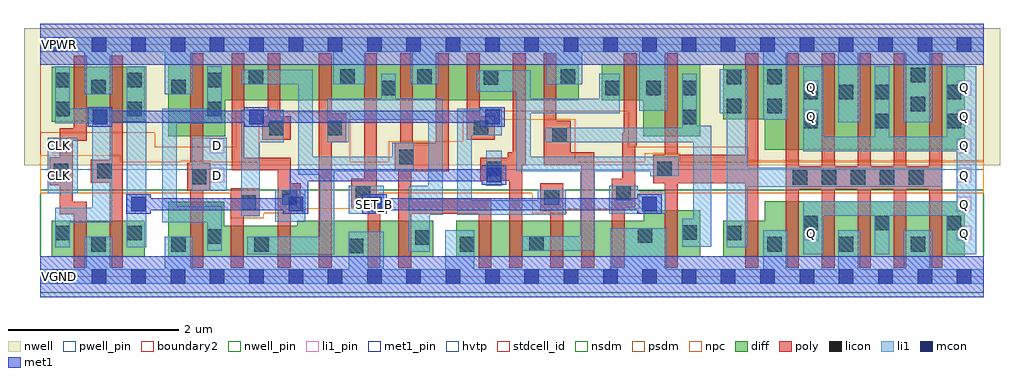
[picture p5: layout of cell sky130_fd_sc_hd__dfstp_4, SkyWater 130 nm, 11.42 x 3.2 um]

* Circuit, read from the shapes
.subckt sky130_fd_sc_hd__dfstp_4 CLK D Q SET_B VGND VNB VPB VPWR
XM1 VGND CLK n1 VNB sky130_fd_pr__nfet_01v8 w=0.42 l=0.15
XM2 n2 n1 VGND VNB sky130_fd_pr__nfet_01v8 w=0.42 l=0.15
XM3 n3 D VGND VNB sky130_fd_pr__nfet_01v8 w=0.64 l=0.15
XM4 n4 n1 n3 VNB sky130_fd_pr__nfet_01v8 w=0.36 l=0.15
XM5 n5 n2 n4 VNB sky130_fd_pr__nfet_01v8 w=0.36 l=0.15
XM6 VGND n6 n5 VNB sky130_fd_pr__nfet_01v8 w=0.42 l=0.15
XM7 n7 SET_B VGND VNB sky130_fd_pr__nfet_01v8 w=0.42 l=0.15
XM8 n6 n4 n7 VNB sky130_fd_pr__nfet_01v8 w=0.42 l=0.15
XM9 n8 n4 VGND VNB sky130_fd_pr__nfet_01v8 w=0.42 l=0.15
XM10 n9 n2 n8 VNB sky130_fd_pr__nfet_01v8 w=0.42 l=0.15
XM11 n10 n1 n9 VNB sky130_fd_pr__nfet_01v8 w=0.42 l=0.15
XM12 n11 n12 n10 VNB sky130_fd_pr__nfet_01v8 w=0.42 l=0.15
XM13 VGND SET_B n11 VNB sky130_fd_pr__nfet_01v8 w=0.42 l=0.15
XM14 n12 n9 VGND VNB sky130_fd_pr__nfet_01v8 w=0.54 l=0.15
XM15 VGND n9 n13 VNB sky130_fd_pr__nfet_01v8 w=0.42 l=0.15
XM16 Q n13 VGND VNB sky130_fd_pr__nfet_01v8 w=0.65 l=0.15 m=5
XM17 VPWR CLK n1 VPB sky130_fd_pr__pfet_01v8_hvt w=0.64 l=0.15
XM18 n2 n1 VPWR VPB sky130_fd_pr__pfet_01v8_hvt w=0.64 l=0.15
XM19 n3 D VPWR VPB sky130_fd_pr__pfet_01v8_hvt w=0.84 l=0.15
XM20 n4 n2 n3 VPB sky130_fd_pr__pfet_01v8_hvt w=0.42 l=0.15
XM21 n14 n1 n4 VPB sky130_fd_pr__pfet_01v8_hvt w=0.42 l=0.15
XM22 VPWR n6 n14 VPB sky130_fd_pr__pfet_01v8_hvt w=0.42 l=0.15
XM23 n6 SET_B VPWR VPB sky130_fd_pr__pfet_01v8_hvt w=0.42 l=0.15
XM24 VPWR n4 n6 VPB sky130_fd_pr__pfet_01v8_hvt w=0.42 l=0.15
XM25 n15 n4 VPWR VPB sky130_fd_pr__pfet_01v8_hvt w=0.42 l=0.15
XM26 n9 n1 n15 VPB sky130_fd_pr__pfet_01v8_hvt w=0.42 l=0.15
XM27 n16 n2 n9 VPB sky130_fd_pr__pfet_01v8_hvt w=0.42 l=0.15
XM28 VPWR n12 n16 VPB sky130_fd_pr__pfet_01v8_hvt w=0.42 l=0.15
XM29 VPWR SET_B n9 VPB sky130_fd_pr__pfet_01v8_hvt w=0.42 l=0.15
XM30 n12 n9 VPWR VPB sky130_fd_pr__pfet_01v8_hvt w=0.84 l=0.15
XM31 VPWR n9 n13 VPB sky130_fd_pr__pfet_01v8_hvt w=0.64 l=0.15
XM32 Q n13 VPWR VPB sky130_fd_pr__pfet_01v8_hvt w=1 l=0.15 m=5
.ends

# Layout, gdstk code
import gdstk
lib = gdstk.Library(unit=1e-6, precision=1e-09)
def R(c, l, rs):  # rectangles x0, y0, x1, y1
    for r in rs: c.add(gdstk.rectangle(r[:2], r[2:], *l))
def A(c, l, x, y, w, h, nx, ny, dx, dy):  # array of equal rectangles
    R(c, l, [(x+i*dx, y+j*dy, x+i*dx+w, y+j*dy+h) for i in range(nx) for j in range(ny)])
def P(c, l, *ps):  # polygons
    for p in ps: c.add(gdstk.Polygon(p, *l))
nwell_pin = (64, 16)
nwell = (64, 20)
diff = (65, 20)
poly = (66, 20)
licon = (66, 44)
li1_pin = (67, 16)
li1 = (67, 20)
mcon = (67, 44)
met1_pin = (68, 16)
met1 = (68, 20)
hvtp = (78, 44)
stdcell_id = (81, 4)
nsdm = (93, 44)
psdm = (94, 20)
npc = (95, 20)
pwell_pin = (122, 16)
boundary2 = (236, 0)

sky130_fd_sc_hd__dfstp_4 = lib.new_cell('sky130_fd_sc_hd__dfstp_4')
R(sky130_fd_sc_hd__dfstp_4, nwell_pin, [(0.145,2.635,0.315,2.805), (0.145,2.635,0.315,2.805)])
R(sky130_fd_sc_hd__dfstp_4, nwell, [(-0.19,1.305,11.23,2.91)])
R(sky130_fd_sc_hd__dfstp_4, diff, [(0.135,0.235,1.225,0.655), (0.135,1.815,1.225,2.455)])
P(sky130_fd_sc_hd__dfstp_4, diff, [(4.6,0.655),(3.005,0.655),(3.005,0.595),(2.155,0.595),(2.155,0.875),(1.495,0.875),(1.495,0.235),(4.6,0.235)],
  [(6.3,2.485),(1.495,2.485),(1.495,1.645),(2.165,1.645),(2.165,2.065),(6.3,2.065)],
  [(7.72,2.485),(6.57,2.485),(6.57,2.065),(7.055,2.065),(7.055,1.645),(7.72,1.645)],
  [(7.72,0.775),(7.06,0.775),(7.06,0.655),(4.87,0.655),(4.87,0.235),(7.72,0.235)],
  [(10.815,2.485),(7.99,2.485),(7.99,1.845),(8.475,1.845),(8.475,1.485),(10.815,1.485)],
  [(10.815,0.885),(8.475,0.885),(8.475,0.655),(7.99,0.655),(7.99,0.235),(10.815,0.235)])
P(sky130_fd_sc_hd__dfstp_4, poly, [(1.99,1.335),(1.905,1.335),(1.905,2.615),(1.755,2.615),(1.755,1.335),(1.72,1.335),(1.72,1.005),(1.755,1.005),(1.755,0.105),(1.905,0.105),(1.905,1.005),(1.99,1.005)],
  [(6.12,1.095),(5.85,1.095),(5.85,0.765),(5.97,0.765),(5.97,0.105),(6.12,0.105)],
  [(6.48,1.455),(6.21,1.455),(6.21,1.825),(6.04,1.825),(6.04,2.615),(5.89,2.615),(5.89,1.305),(6.33,1.305),(6.33,0.105),(6.48,0.105)],
  [(6.98,2.615),(6.83,2.615),(6.83,1.685),(6.81,1.685),(6.81,1.145),(6.69,1.145),(6.69,0.105),(6.84,0.105),(6.84,0.815),(6.96,0.815),(6.96,1.535),(6.98,1.535)],
  [(8.4,2.615),(8.25,2.615),(8.25,1.425),(7.46,1.425),(7.46,2.615),(7.31,2.615),(7.31,1.425),(7.17,1.425),(7.17,1.095),(7.31,1.095),(7.31,0.105),(7.46,0.105),(7.46,1.095),(8.25,1.095),(8.25,0.105),(8.4,0.105)],
  [(10.555,2.615),(10.405,2.615),(10.405,1.295),(10.135,1.295),(10.135,2.615),(9.985,2.615),(9.985,1.295),(9.715,1.295),(9.715,2.615),(9.565,2.615),(9.565,1.295),(9.295,1.295),(9.295,2.615),(9.145,2.615),(9.145,1.295),(8.875,1.295),(8.875,2.615),(8.725,2.615),(8.725,0.105),(8.875,0.105),(8.875,1.025),(9.145,1.025),(9.145,0.105),(9.295,0.105),(9.295,1.025),(9.565,1.025),(9.565,0.105),(9.715,0.105),(9.715,1.025),(9.985,1.025),(9.985,0.105),(10.135,0.105),(10.135,1.025),(10.405,1.025),(10.405,0.105),(10.555,0.105)],
  [(0.545,0.88),(0.38,0.88),(0.38,1.59),(0.545,1.59),(0.545,2.585),(0.395,2.585),(0.395,1.74),(0.23,1.74),(0.23,1.4),(0.11,1.4),(0.11,1.07),(0.23,1.07),(0.23,0.73),(0.395,0.73),(0.395,0.105),(0.545,0.105)],
  [(0.965,2.585),(0.815,2.585),(0.815,1.37),(0.59,1.37),(0.59,1.1),(0.815,1.1),(0.815,0.105),(0.965,0.105)],
  [(2.93,1.875),(2.81,1.875),(2.81,2.615),(2.66,2.615),(2.66,1.875),(2.6,1.875),(2.6,1.605),(2.93,1.605)],
  [(3.05,1.095),(2.93,1.095),(2.93,1.395),(2.39,1.395),(2.39,2.615),(2.24,2.615),(2.24,1.245),(2.78,1.245),(2.78,0.105),(2.93,0.105),(2.93,0.765),(3.05,0.765)],
  [(3.58,1.905),(3.41,1.905),(3.41,2.615),(3.26,2.615),(3.26,0.105),(3.41,0.105),(3.41,1.575),(3.58,1.575)],
  [(3.98,0.965),(3.94,0.965),(3.94,2.615),(3.79,2.615),(3.79,1.145),(3.64,1.145),(3.64,0.815),(3.83,0.815),(3.83,0.105),(3.98,0.105)],
  [(5.28,0.915),(4.34,0.915),(4.34,1.235),(4.78,1.235),(4.78,2.615),(4.63,2.615),(4.63,1.565),(4.36,1.565),(4.36,2.615),(4.21,2.615),(4.21,1.565),(4.15,1.565),(4.15,1.235),(4.19,1.235),(4.19,0.105),(4.34,0.105),(4.34,0.735),(5.13,0.735),(5.13,0.105),(5.28,0.105)],
  [(5.32,1.875),(5.14,1.875),(5.14,2.615),(4.99,2.615),(4.99,1.605),(5.32,1.605)],
  [(5.68,2.615),(5.53,2.615),(5.53,1.455),(5.47,1.455),(5.47,1.395),(5.15,1.395),(5.15,1.125),(5.49,1.125),(5.49,0.105),(5.64,0.105),(5.64,1.305),(5.68,1.305)],
  [(2.57,1.035),(2.23,1.035),(2.23,0.105),(2.38,0.105),(2.38,0.705),(2.57,0.705)])
A(sky130_fd_sc_hd__dfstp_4, licon, 8.505, 0.295, 0.17, 0.17, 3, 1, 0.84, 0)
A(sky130_fd_sc_hd__dfstp_4, licon, 8.925, 0.545, 0.17, 0.17, 3, 2, 0.84, 1.19)
A(sky130_fd_sc_hd__dfstp_4, licon, 8.805, 1.075, 0.17, 0.17, 5, 1, 0.34, 0)
A(sky130_fd_sc_hd__dfstp_4, licon, 8.925, 2.075, 0.17, 0.17, 3, 1, 0.42, 0)
R(sky130_fd_sc_hd__dfstp_4, licon, [(3.61,0.275,3.78,0.445), (0.595,0.295,0.765,0.465), (1.535,0.295,1.705,0.465), (2.505,0.295,2.675,0.465), (4.91,0.295,5.08,0.465), (5.72,0.305,5.89,0.475), (4.39,0.375,4.56,0.545), (1.955,0.385,2.125,0.555), (6.99,0.395,7.16,0.565), (0.175,0.425,0.345,0.595), (1.015,0.425,1.185,0.595), (8.03,0.425,8.2,0.595), (7.51,0.43,7.68,0.6), (2.35,0.785,2.52,0.955), (2.83,0.845,3,1.015), (5.9,0.845,6.07,1.015), (3.69,0.895,3.86,1.065), (6.74,0.895,6.91,1.065), (1.77,1.085,1.94,1.255), (0.16,1.15,0.33,1.32), (0.67,1.15,0.84,1.32), (5.23,1.175,5.4,1.345), (7.22,1.175,7.39,1.345), (4.2,1.315,4.37,1.485), (5.99,1.575,6.16,1.745), (2.68,1.655,2.85,1.825), (3.36,1.655,3.53,1.825), (5.07,1.655,5.24,1.825), (7.51,1.785,7.68,1.955), (0.175,1.875,0.345,2.045), (1.015,1.875,1.185,2.045), (1.955,1.875,2.125,2.045), (8.03,1.915,8.2,2.085), (8.505,1.915,8.675,2.085), (10.185,1.935,10.355,2.105), (10.605,2.075,10.775,2.245), (3.99,2.125,4.16,2.295), (6.61,2.125,6.78,2.295), (7.09,2.125,7.26,2.295), (7.51,2.125,7.68,2.295), (0.595,2.135,0.765,2.305), (1.535,2.135,1.705,2.305), (0.175,2.215,0.345,2.385), (1.015,2.215,1.185,2.385), (1.955,2.215,2.125,2.385), (5.19,2.245,5.36,2.415), (2.44,2.25,2.61,2.42), (3.51,2.255,3.68,2.425), (4.41,2.255,4.58,2.425), (6.09,2.255,6.26,2.425), (8.03,2.255,8.2,2.425), (8.505,2.255,8.675,2.425), (10.185,2.275,10.355,2.445)])
A(sky130_fd_sc_hd__dfstp_4, li1_pin, 10.725, 0.425, 0.17, 0.17, 1, 6, 0, 0.34)
R(sky130_fd_sc_hd__dfstp_4, li1_pin, [(0.145,-0.085,0.315,0.085), (8.94,0.425,9.11,0.595), (3.825,0.765,3.995,0.935), (0.145,1.105,0.315,1.275), (1.985,1.105,2.155,1.275), (0.145,1.445,0.315,1.615), (1.985,1.445,2.155,1.615), (8.94,1.785,9.11,1.955), (8.94,2.125,9.11,2.295), (0.145,2.635,0.315,2.805)])
R(sky130_fd_sc_hd__dfstp_4, li1, [(1.015,0.345,1.24,2.465), (2.75,0.645,3.1,1.015), (3.61,0.735,4.02,1.065), (0.09,0.975,0.44,1.625), (1.77,1.005,2.18,1.625), (5.22,1.065,5.4,1.475)])
P(sky130_fd_sc_hd__dfstp_4, li1, [(2.125,0.825),(1.6,0.825),(1.6,1.795),(2.125,1.795),(2.125,2.465),(1.955,2.465),(1.955,1.965),(1.43,1.965),(1.43,0.635),(1.955,0.635),(1.955,0.305),(2.125,0.305)],
  [(2.85,1.955),(2.35,1.955),(2.35,0.705),(2.57,0.705),(2.57,1.575),(2.85,1.575)],
  [(4.37,1.565),(4.12,1.565),(4.12,1.405),(3.19,1.405),(3.19,2.42),(2.36,2.42),(2.36,2.25),(3.02,2.25),(3.02,1.195),(3.27,1.195),(3.27,0.465),(2.425,0.465),(2.425,0.265),(3.44,0.265),(3.44,1.235),(4.37,1.235)],
  [(4.71,2.085),(4.16,2.085),(4.16,2.375),(3.99,2.375),(3.99,2.085),(3.36,2.085),(3.36,1.575),(3.61,1.575),(3.61,1.835),(4.54,1.835),(4.54,1.065),(4.31,1.065),(4.31,0.295),(4.56,0.295),(4.56,0.725),(4.71,0.725)],
  [(6.15,1.015),(5.82,1.015),(5.82,0.895),(5.05,0.895),(5.05,1.655),(5.4,1.655),(5.4,1.965),(4.88,1.965),(4.88,0.725),(6.15,0.725)],
  [(7.32,1.005),(6.99,1.005),(6.99,1.065),(6.66,1.065),(6.66,0.735),(7.32,0.735)],
  [(7.47,1.405),(5.74,1.405),(5.74,1.915),(6.78,1.915),(6.78,2.375),(6.54,2.375),(6.54,2.085),(5.74,2.085),(5.74,2.415),(5.11,2.415),(5.11,2.165),(5.57,2.165),(5.57,1.235),(6.32,1.235),(6.32,0.475),(5.64,0.475),(5.64,0.305),(6.49,0.305),(6.49,1.235),(7.14,1.235),(7.14,1.175),(7.47,1.175)],
  [(7.85,1.765),(7.68,1.765),(7.68,2.375),(7.51,2.375),(7.51,1.745),(5.91,1.745),(5.91,1.575),(7.64,1.575),(7.64,0.68),(7.51,0.68),(7.51,0.35),(7.85,0.35)],
  [(10.555,1.275),(8.28,1.275),(8.28,2.425),(7.95,2.425),(7.95,1.915),(8.03,1.915),(8.03,0.345),(8.28,0.345),(8.28,1.055),(10.555,1.055)],
  [(10.955,2.465),(10.605,2.465),(10.605,1.64),(9.935,1.64),(9.935,2.465),(9.765,2.465),(9.765,1.64),(9.17,1.64),(9.17,2.465),(8.925,2.465),(8.925,1.47),(10.725,1.47),(10.725,0.885),(8.925,0.885),(8.925,0.265),(9.17,0.265),(9.17,0.715),(9.765,0.715),(9.765,0.265),(9.935,0.265),(9.935,0.715),(10.605,0.715),(10.605,0.265),(10.955,0.265)],
  [(11.04,2.805),(0,2.805),(0,2.635),(0.515,2.635),(0.515,2.135),(0.845,2.135),(0.845,2.635),(1.455,2.635),(1.455,2.135),(1.785,2.135),(1.785,2.635),(3.43,2.635),(3.43,2.255),(3.81,2.255),(3.81,2.635),(4.33,2.635),(4.33,2.255),(4.66,2.255),(4.66,2.635),(5.92,2.635),(5.92,2.255),(6.34,2.255),(6.34,2.635),(7.01,2.635),(7.01,1.945),(7.34,1.945),(7.34,2.635),(8.46,2.635),(8.46,1.835),(8.745,1.835),(8.745,2.635),(9.34,2.635),(9.34,1.81),(9.595,1.81),(9.595,2.635),(10.105,2.635),(10.105,1.81),(10.435,1.81),(10.435,2.635),(11.04,2.635)],
  [(11.04,0.085),(10.435,0.085),(10.435,0.545),(10.105,0.545),(10.105,0.085),(9.595,0.085),(9.595,0.545),(9.34,0.545),(9.34,0.085),(8.745,0.085),(8.745,0.545),(8.46,0.545),(8.46,0.085),(7.33,0.085),(7.33,0.565),(6.67,0.565),(6.67,0.085),(5.08,0.085),(5.08,0.545),(4.74,0.545),(4.74,0.085),(4.02,0.085),(4.02,0.525),(3.61,0.525),(3.61,0.085),(1.785,0.085),(1.785,0.465),(1.455,0.465),(1.455,0.085),(0.845,0.085),(0.845,0.465),(0.515,0.465),(0.515,0.085),(0,0.085),(0,-0.085),(11.04,-0.085)],
  [(0.84,1.965),(0.345,1.965),(0.345,2.465),(0.175,2.465),(0.175,1.795),(0.61,1.795),(0.61,0.805),(0.175,0.805),(0.175,0.345),(0.345,0.345),(0.345,0.635),(0.84,0.635)])
A(sky130_fd_sc_hd__dfstp_4, mcon, 0.145, -0.085, 0.17, 0.17, 24, 2, 0.46, 2.72)
R(sky130_fd_sc_hd__dfstp_4, mcon, [(1.065,0.765,1.235,0.935), (2.905,0.765,3.075,0.935), (3.825,0.765,3.995,0.935), (7.045,0.765,7.215,0.935), (5.225,1.105,5.395,1.275), (0.615,1.785,0.785,1.955), (2.445,1.785,2.615,1.955), (5.205,1.785,5.375,1.955)])
R(sky130_fd_sc_hd__dfstp_4, met1_pin, [(0.145,-0.085,0.315,0.085), (0.145,2.635,0.315,2.805)])
R(sky130_fd_sc_hd__dfstp_4, met1, [(0,-0.24,11.04,0.24), (0,2.48,11.04,2.96)])
P(sky130_fd_sc_hd__dfstp_4, met1, [(5.455,1.305),(5.165,1.305),(5.165,1.26),(2.92,1.26),(2.92,0.965),(2.845,0.965),(2.845,0.92),(1.295,0.92),(1.295,0.965),(1.005,0.965),(1.005,0.735),(1.295,0.735),(1.295,0.78),(2.845,0.78),(2.845,0.735),(3.135,0.735),(3.135,1.12),(5.165,1.12),(5.165,1.075),(5.455,1.075)],
  [(5.435,1.985),(5.145,1.985),(5.145,1.94),(2.675,1.94),(2.675,1.985),(2.385,1.985),(2.385,1.94),(0.845,1.94),(0.845,1.985),(0.555,1.985),(0.555,1.755),(0.845,1.755),(0.845,1.8),(2.385,1.8),(2.385,1.755),(2.675,1.755),(2.675,1.8),(5.145,1.8),(5.145,1.755),(5.435,1.755)],
  [(7.275,0.965),(6.985,0.965),(6.985,0.92),(4.055,0.92),(4.055,0.965),(3.765,0.965),(3.765,0.735),(4.055,0.735),(4.055,0.78),(6.985,0.78),(6.985,0.735),(7.275,0.735)])
R(sky130_fd_sc_hd__dfstp_4, hvtp, [(0,1.25,11.04,2.72)])
R(sky130_fd_sc_hd__dfstp_4, stdcell_id, [(0,0,11.04,2.72)])
R(sky130_fd_sc_hd__dfstp_4, nsdm, [(0,-0.19,11.04,1.015)])
P(sky130_fd_sc_hd__dfstp_4, psdm, [(11.04,2.91),(0,2.91),(0,1.685),(1.34,1.685),(1.34,1.515),(2.295,1.515),(2.295,1.935),(6.88,1.935),(6.88,1.515),(8.28,1.515),(8.28,1.355),(11.04,1.355)])
P(sky130_fd_sc_hd__dfstp_4, npc, [(11.04,1.345),(7.49,1.345),(7.49,1.445),(7.075,1.445),(7.075,1.345),(6.26,1.345),(6.26,1.845),(5.34,1.845),(5.34,1.925),(4.945,1.925),(4.945,1.585),(4.075,1.585),(4.075,1.345),(3.63,1.345),(3.63,1.925),(2.555,1.925),(2.555,1.345),(2.015,1.345),(2.015,1.355),(1.645,1.355),(1.645,1.345),(0.94,1.345),(0.94,1.42),(0,1.42),(0,0.975),(2.225,0.975),(2.225,0.685),(2.615,0.685),(2.615,0.745),(3.09,0.745),(3.09,0.795),(3.96,0.795),(3.96,0.975),(5.755,0.975),(5.755,0.745),(6.16,0.745),(6.16,0.795),(7.01,0.795),(7.01,0.975),(11.04,0.975)])
R(sky130_fd_sc_hd__dfstp_4, pwell_pin, [(0.145,-0.085,0.315,0.085), (0.145,-0.085,0.315,0.085)])
R(sky130_fd_sc_hd__dfstp_4, boundary2, [(0,0,11.04,2.72)])
sky130_fd_sc_hd__dfstp_4.add(gdstk.Label('Q', (10.81,1.87), layer=67, texttype=5))
sky130_fd_sc_hd__dfstp_4.add(gdstk.Label('Q', (10.81,2.21), layer=67, texttype=5))
sky130_fd_sc_hd__dfstp_4.add(gdstk.Label('Q', (10.81,0.85), layer=67, texttype=5))
sky130_fd_sc_hd__dfstp_4.add(gdstk.Label('Q', (10.81,0.51), layer=67, texttype=5))
sky130_fd_sc_hd__dfstp_4.add(gdstk.Label('Q', (10.81,1.53), layer=67, texttype=5))
sky130_fd_sc_hd__dfstp_4.add(gdstk.Label('Q', (10.81,1.19), layer=67, texttype=5))
sky130_fd_sc_hd__dfstp_4.add(gdstk.Label('D', (2.07,1.53), layer=67, texttype=5))
sky130_fd_sc_hd__dfstp_4.add(gdstk.Label('D', (2.07,1.19), layer=67, texttype=5))
sky130_fd_sc_hd__dfstp_4.add(gdstk.Label('VPWR', (0.23,2.72), layer=67, texttype=5))
sky130_fd_sc_hd__dfstp_4.add(gdstk.Label('Q', (9.025,2.21), layer=67, texttype=5))
sky130_fd_sc_hd__dfstp_4.add(gdstk.Label('Q', (9.025,1.87), layer=67, texttype=5))
sky130_fd_sc_hd__dfstp_4.add(gdstk.Label('Q', (9.025,0.51), layer=67, texttype=5))
sky130_fd_sc_hd__dfstp_4.add(gdstk.Label('SET_B', (3.91,0.85), layer=67, texttype=5))
sky130_fd_sc_hd__dfstp_4.add(gdstk.Label('CLK', (0.23,1.53), layer=67, texttype=5))
sky130_fd_sc_hd__dfstp_4.add(gdstk.Label('CLK', (0.23,1.19), layer=67, texttype=5))
sky130_fd_sc_hd__dfstp_4.add(gdstk.Label('VGND', (0.23,0), layer=67, texttype=5))
sky130_fd_sc_hd__dfstp_4.add(gdstk.Label('VPB', (0.23,2.72), layer=64, texttype=5))
sky130_fd_sc_hd__dfstp_4.add(gdstk.Label('VPB', (0.23,2.72), layer=64, texttype=5))
sky130_fd_sc_hd__dfstp_4.add(gdstk.Label('VNB', (0.23,0), layer=64, texttype=59))
sky130_fd_sc_hd__dfstp_4.add(gdstk.Label('VNB', (0.23,0), layer=64, texttype=59))
sky130_fd_sc_hd__dfstp_4.add(gdstk.Label('VPWR', (0.23,2.72), layer=68, texttype=5))
sky130_fd_sc_hd__dfstp_4.add(gdstk.Label('VGND', (0.23,0), layer=68, texttype=5))
sky130_fd_sc_hd__dfstp_4.add(gdstk.Label('dfstp_4', (0,0), layer=83, texttype=44))

lib.write_gds('sky130_fd_sc_hd__dfstp_4.gds')
